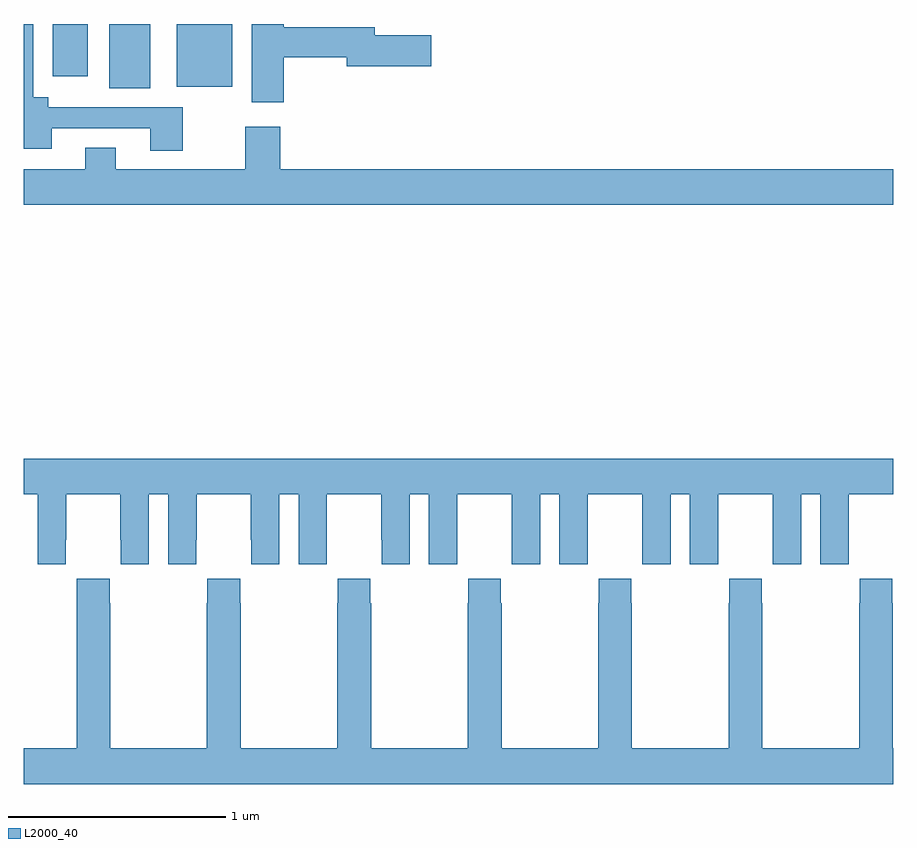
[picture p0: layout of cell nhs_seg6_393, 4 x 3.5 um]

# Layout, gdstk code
import gdstk
lib = gdstk.Library(unit=1e-6, precision=1e-09)
def R(c, l, rs):  # rectangles x0, y0, x1, y1
    for r in rs: c.add(gdstk.rectangle(r[:2], r[2:], *l))
def P(c, l, *ps):  # polygons
    for p in ps: c.add(gdstk.Polygon(p, *l))
L2000_40 = (2000, 40)

nhs_seg6_393 = lib.new_cell('nhs_seg6_393')
R(nhs_seg6_393, L2000_40, [(133.394,949.205,133.582,949.5), (133.703,949.211,133.96,949.5), (133.133,949.26,133.294,949.5)])
P(nhs_seg6_393, L2000_40, [(134.195,949.348),(134.486,949.348),(134.486,949.306),(134.875,949.306),(134.875,949.448),(134.614,949.448),(134.614,949.484),(134.195,949.484),(134.195,949.5),(134.048,949.5),(134.048,949.14),(134.195,949.14)],
  [(133.731,949.116),(133.114,949.116),(133.114,949.162),(133.044,949.162),(133.044,949.5),(133,949.5),(133,948.926),(133.129,948.926),(133.129,949.02),(133.583,949.02),(133.583,948.918),(133.731,948.918)],
  [(137,948.832),(134.18,948.832),(134.18,949.027),(134.02,949.027),(134.02,948.832),(133.423,948.832),(133.423,948.931),(133.283,948.931),(133.283,948.832),(133,948.832),(133,948.668),(137,948.668)],
  [(133.194,947.128),(133.195,947.128),(133.195,947.336),(133.445,947.336),(133.445,947.128),(133.446,947.128),(133.446,947.016),(133.576,947.016),(133.576,947.336),(133.664,947.336),(133.664,947.016),(133.794,947.016),(133.794,947.128),(133.795,947.128),(133.795,947.336),(134.045,947.336),(134.045,947.128),(134.046,947.128),(134.046,947.016),(134.176,947.016),(134.176,947.336),(134.264,947.336),(134.264,947.016),(134.394,947.016),(134.394,947.128),(134.395,947.128),(134.395,947.336),(134.645,947.336),(134.645,947.128),(134.646,947.128),(134.646,947.016),(134.776,947.016),(134.776,947.336),(134.864,947.336),(134.864,947.016),(134.994,947.016),(134.994,947.128),(134.995,947.128),(134.995,947.336),(135.245,947.336),(135.245,947.128),(135.246,947.128),(135.246,947.016),(135.376,947.016),(135.376,947.336),(135.464,947.336),(135.464,947.016),(135.594,947.016),(135.594,947.128),(135.595,947.128),(135.595,947.336),(135.845,947.336),(135.845,947.128),(135.846,947.128),(135.846,947.016),(135.976,947.016),(135.976,947.336),(136.064,947.336),(136.064,947.016),(136.194,947.016),(136.194,947.128),(136.195,947.128),(136.195,947.336),(136.445,947.336),(136.445,947.128),(136.446,947.128),(136.446,947.016),(136.576,947.016),(136.576,947.336),(136.664,947.336),(136.664,947.016),(136.794,947.016),(136.794,947.128),(136.795,947.128),(136.795,947.336),(137,947.336),(137,947.5),(133,947.5),(133,947.336),(133.064,947.336),(133.064,947.016),(133.194,947.016)],
  [(137,946.168),(136.998,946.168),(136.998,946.835),(136.995,946.835),(136.995,946.948),(136.845,946.948),(136.845,946.835),(136.843,946.835),(136.843,946.168),(136.398,946.168),(136.398,946.835),(136.395,946.835),(136.395,946.948),(136.245,946.948),(136.245,946.835),(136.243,946.835),(136.243,946.168),(135.798,946.168),(135.798,946.835),(135.795,946.835),(135.795,946.948),(135.645,946.948),(135.645,946.835),(135.643,946.835),(135.643,946.168),(135.198,946.168),(135.198,946.835),(135.195,946.835),(135.195,946.948),(135.045,946.948),(135.045,946.835),(135.043,946.835),(135.043,946.168),(134.598,946.168),(134.598,946.835),(134.595,946.835),(134.595,946.948),(134.445,946.948),(134.445,946.835),(134.443,946.835),(134.443,946.168),(133.998,946.168),(133.998,946.835),(133.995,946.835),(133.995,946.948),(133.845,946.948),(133.845,946.835),(133.843,946.835),(133.843,946.168),(133.398,946.168),(133.398,946.835),(133.395,946.835),(133.395,946.948),(133.245,946.948),(133.245,946.835),(133.243,946.835),(133.243,946.168),(133,946.168),(133,946.004),(137,946.004)])

lib.write_gds('nhs_seg6_393.gds')
